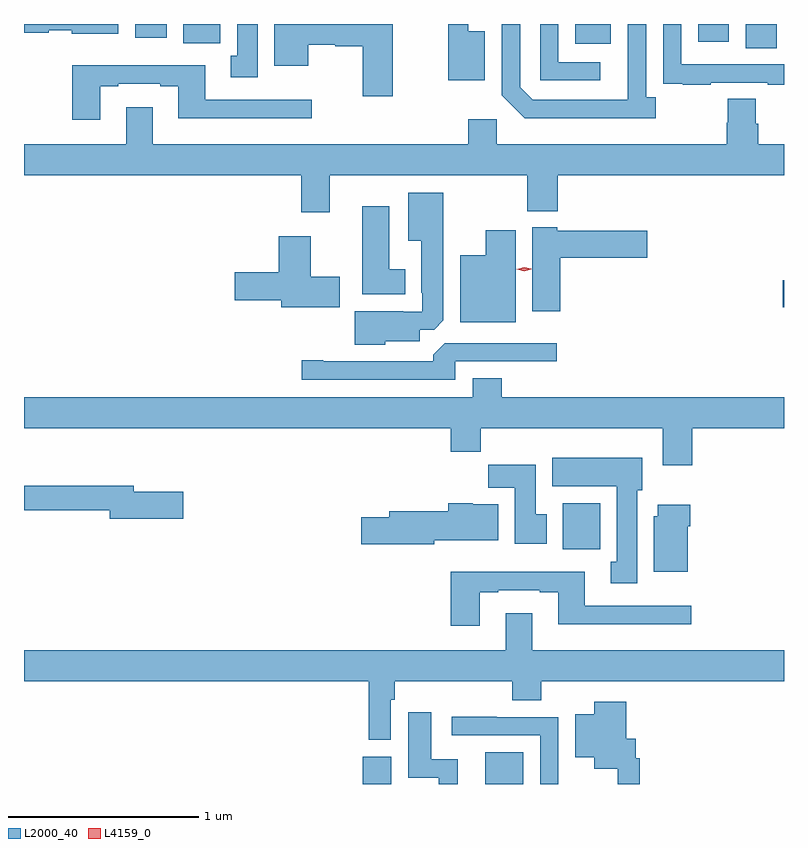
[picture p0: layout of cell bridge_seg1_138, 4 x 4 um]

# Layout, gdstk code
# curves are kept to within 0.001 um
import gdstk
lib = gdstk.Library(unit=1e-6, precision=1e-09)
def R(c, l, rs):  # rectangles x0, y0, x1, y1
    for r in rs: c.add(gdstk.rectangle(r[:2], r[2:], *l))
def P(c, l, *ps):  # polygons
    for p in ps: c.add(gdstk.Polygon(p, *l))
L2000_40 = (2000, 40)
L4159_0 = (4159, 0)

bridge_seg1_138 = lib.new_cell('bridge_seg1_138')
R(bridge_seg1_138, L2000_40, [(425.75,548.528,425.902,548.671), (426.395,548.528,426.595,548.695), (426.803,549.764,427,550.006), (427.962,551.038,427.968,551.18), (427.766,552.4,427.93,552.528), (426.869,552.425,427.057,552.528), (424.805,552.428,425.002,552.528), (427.517,552.435,427.678,552.528), (424.553,552.456,424.72,552.528)])
P(bridge_seg1_138, L2000_40, [(424.465,552.528),(423.968,552.528),(423.968,552.482),(424.098,552.482),(424.098,552.494),(424.218,552.494),(424.218,552.476),(424.465,552.476)],
  [(427.583,552.219),(427.883,552.219),(427.883,552.207),(427.968,552.207),(427.968,552.315),(427.428,552.315),(427.428,552.528),(427.332,552.528),(427.332,552.322),(427.333,552.322),(427.333,552.213),(427.435,552.213),(427.435,552.207),(427.583,552.207)],
  [(427,552.327),(426.78,552.327),(426.78,552.528),(426.684,552.528),(426.684,552.231),(427,552.231)],
  [(427.294,552.142),(427.242,552.142),(427.242,552.528),(427.146,552.528),(427.145,552.129),(426.645,552.129),(426.579,552.195),(426.579,552.528),(426.483,552.528),(426.483,552.153),(426.604,552.032),(427.294,552.032)],
  [(425.908,552.528),(425.285,552.528),(425.285,552.308),(425.464,552.308),(425.464,552.42),(425.607,552.42),(425.607,552.412),(425.75,552.412),(425.75,552.147),(425.908,552.147)],
  [(425.197,552.528),(425.09,552.528),(425.09,552.362),(425.057,552.362),(425.057,552.249),(425.197,552.249)],
  [(426.394,552.49),(426.305,552.49),(426.305,552.528),(426.202,552.528),(426.202,552.233),(426.394,552.233)],
  [(424.369,552.201),(424.465,552.201),(424.465,552.213),(424.685,552.213),(424.685,552.201),(424.781,552.201),(424.781,552.032),(425.482,552.032),(425.482,552.129),(424.921,552.129),(424.921,552.31),(424.222,552.31),(424.222,552.024),(424.369,552.024)],
  [(425.578,551.732),(426.616,551.732),(426.616,551.543),(426.776,551.543),(426.776,551.732),(427.968,551.732),(427.968,551.896),(427.832,551.896),(427.832,552.002),(427.819,552.002),(427.819,552.134),(427.672,552.134),(427.672,552.009),(427.667,552.009),(427.667,551.896),(426.456,551.896),(426.456,552.028),(426.305,552.028),(426.305,551.896),(424.645,551.896),(424.645,552.091),(424.505,552.091),(424.505,551.896),(423.968,551.896),(423.968,551.732),(425.426,551.732),(425.426,551.538),(425.578,551.538)],
  [(425.868,550.859),(426.052,550.859),(426.052,550.92),(426.126,550.92),(426.175,550.969),(426.175,551.641),(425.99,551.641),(425.99,551.387),(426.059,551.387),(426.059,551.113),(426.063,551.113),(426.063,551.013),(425.963,551.013),(425.963,551.017),(425.708,551.017),(425.708,550.841),(425.868,550.841)],
  [(425.974,551.236),(425.89,551.236),(425.89,551.569),(425.747,551.569),(425.747,551.105),(425.974,551.105)],
  [(426.791,551.297),(427.249,551.297),(427.249,551.439),(426.774,551.439),(426.774,551.458),(426.644,551.458),(426.644,551.016),(426.791,551.016)],
  [(426.556,551.443),(426.398,551.443),(426.398,551.311),(426.263,551.311),(426.263,550.958),(426.556,550.958)],
  [(425.629,551.199),(425.476,551.199),(425.476,551.41),(425.309,551.41),(425.309,551.222),(425.076,551.222),(425.076,551.075),(425.321,551.075),(425.321,551.036),(425.629,551.036)],
  [(426.237,550.752),(426.772,550.752),(426.772,550.848),(426.183,550.848),(426.122,550.786),(426.122,550.752),(425.542,550.752),(425.542,550.757),(425.43,550.757),(425.43,550.656),(426.237,550.656)],
  [(427.484,550.4),(427.968,550.4),(427.968,550.564),(426.482,550.564),(426.482,550.663),(426.329,550.663),(426.329,550.564),(423.968,550.564),(423.968,550.4),(426.215,550.4),(426.215,550.276),(426.371,550.276),(426.371,550.4),(427.331,550.4),(427.331,550.206),(427.484,550.206)],
  [(427.195,550.074),(427.222,550.074),(427.222,550.246),(426.749,550.246),(426.749,550.094),(427.088,550.094),(427.088,549.698),(427.055,549.698),(427.055,549.585),(427.195,549.585)],
  [(426.718,549.948),(426.661,549.948),(426.661,550.207),(426.412,550.207),(426.412,550.088),(426.551,550.088),(426.551,549.792),(426.718,549.792)],
  [(424.807,550.065),(424.546,550.065),(424.546,550.099),(423.968,550.099),(423.968,549.97),(424.418,549.97),(424.418,549.923),(424.807,549.923)],
  [(426.126,549.812),(426.463,549.812),(426.463,550),(426.33,550),(426.33,550.006),(426.2,550.006),(426.2,549.963),(425.891,549.963),(425.891,549.933),(425.742,549.933),(425.742,549.791),(426.126,549.791)],
  [(427.462,549.884),(427.475,549.884),(427.475,549.997),(427.304,549.997),(427.304,549.936),(427.283,549.936),(427.283,549.644),(427.462,549.644)],
  [(426.367,549.537),(426.463,549.537),(426.463,549.549),(426.683,549.549),(426.683,549.537),(426.779,549.537),(426.779,549.368),(427.48,549.368),(427.48,549.465),(426.919,549.465),(426.919,549.646),(426.215,549.646),(426.215,549.36),(426.367,549.36)],
  [(425.898,548.972),(425.918,548.972),(425.918,549.068),(426.539,549.068),(426.539,548.969),(426.691,548.969),(426.691,549.068),(427.968,549.068),(427.968,549.232),(426.643,549.232),(426.643,549.427),(426.503,549.427),(426.503,549.232),(423.968,549.232),(423.968,549.068),(425.782,549.068),(425.782,548.76),(425.898,548.76)],
  [(427.208,548.663),(427.188,548.663),(427.188,548.767),(427.139,548.767),(427.139,548.962),(426.968,548.962),(426.968,548.896),(426.869,548.896),(426.869,548.669),(426.968,548.669),(426.968,548.609),(427.092,548.609),(427.092,548.528),(427.208,548.528)],
  [(426.25,548.658),(426.112,548.658),(426.112,548.905),(425.99,548.905),(425.99,548.562),(426.152,548.562),(426.152,548.528),(426.25,548.528)],
  [(426.78,548.88),(426.455,548.88),(426.455,548.882),(426.219,548.882),(426.219,548.784),(426.684,548.784),(426.684,548.528),(426.78,548.528)])
P(bridge_seg1_138, L4159_0, [(426.601,551.228),(426.562,551.237),(426.562,551.237),(426.562,551.238),(426.6,551.248),(426.638,551.239),(426.638,551.239),(426.638,551.238)])

lib.write_gds('bridge_seg1_138.gds')
